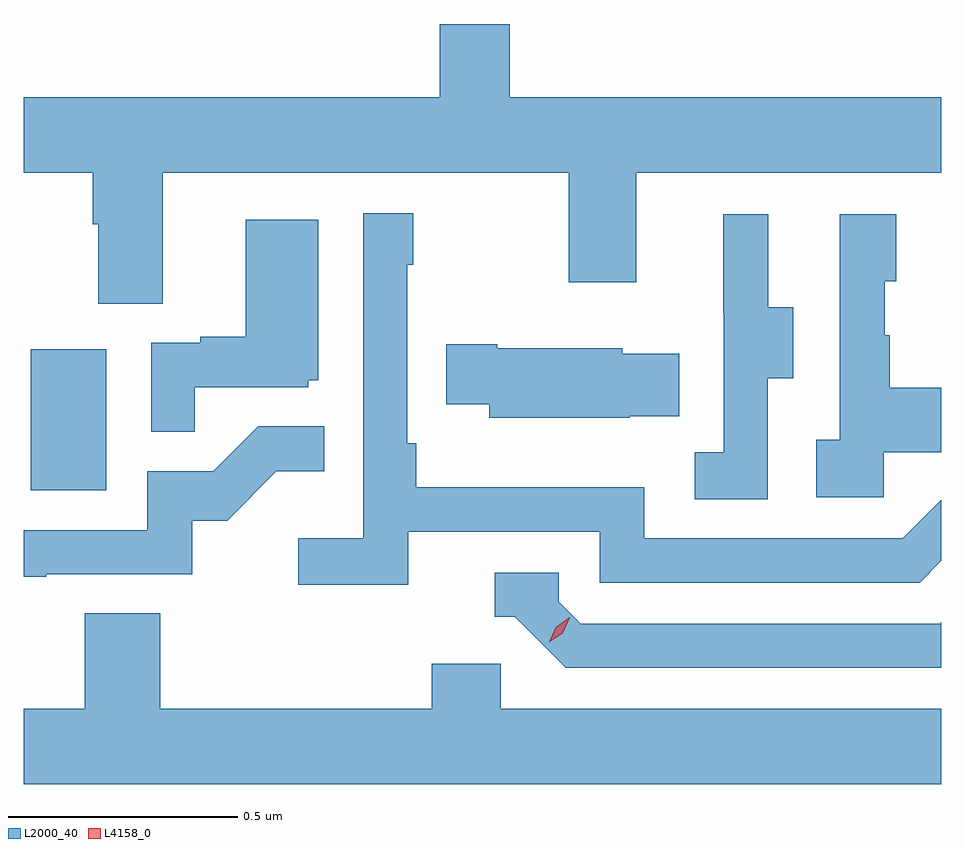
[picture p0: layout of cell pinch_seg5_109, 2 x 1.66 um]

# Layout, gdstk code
import gdstk
lib = gdstk.Library(unit=1e-6, precision=1e-09)
def R(c, l, rs):  # rectangles x0, y0, x1, y1
    for r in rs: c.add(gdstk.rectangle(r[:2], r[2:], *l))
def P(c, l, *ps):  # polygons
    for p in ps: c.add(gdstk.Polygon(p, *l))
L2000_40 = (2000, 40)
L4158_0 = (4158, 0)

pinch_seg5_109 = lib.new_cell('pinch_seg5_109')
R(pinch_seg5_109, L2000_40, [(1029.788,880.044,1029.952,880.351)])
P(pinch_seg5_109, L2000_40, [(1030.075,880.736),(1030.96,880.736),(1030.96,880.497),(1031.107,880.497),(1031.107,880.736),(1031.772,880.736),(1031.772,880.9),(1030.831,880.9),(1030.831,881.06),(1030.679,881.06),(1030.679,880.9),(1029.772,880.9),(1029.772,880.736),(1029.923,880.736),(1029.923,880.624),(1029.935,880.624),(1029.935,880.45),(1030.075,880.45)],
  [(1030.61,879.954),(1031.028,879.954),(1031.028,879.843),(1031.725,879.843),(1031.772,879.89),(1031.772,880.023),(1031.688,879.939),(1031.124,879.939),(1031.124,880.051),(1030.628,880.051),(1030.628,880.147),(1030.608,880.147),(1030.608,880.535),(1030.621,880.535),(1030.621,880.648),(1030.512,880.648),(1030.512,879.94),(1030.371,879.94),(1030.371,879.838),(1030.61,879.838)],
  [(1031.394,880.288),(1031.449,880.288),(1031.449,880.443),(1031.395,880.443),(1031.395,880.645),(1031.297,880.645),(1031.297,880.431),(1031.298,880.431),(1031.298,880.127),(1031.235,880.127),(1031.235,880.024),(1031.394,880.024)],
  [(1031.646,880.127),(1031.772,880.127),(1031.772,880.267),(1031.659,880.267),(1031.659,880.382),(1031.649,880.382),(1031.649,880.5),(1031.674,880.5),(1031.674,880.645),(1031.55,880.645),(1031.55,880.154),(1031.499,880.154),(1031.499,880.029),(1031.646,880.029)],
  [(1030.145,880.269),(1030.392,880.269),(1030.392,880.284),(1030.414,880.284),(1030.414,880.633),(1030.256,880.633),(1030.256,880.378),(1030.157,880.378),(1030.157,880.365),(1030.05,880.365),(1030.05,880.171),(1030.145,880.171)],
  [(1031.093,880.205),(1031.201,880.205),(1031.201,880.342),(1031.076,880.342),(1031.076,880.354),(1030.804,880.354),(1030.804,880.362),(1030.693,880.362),(1030.693,880.232),(1030.787,880.232),(1030.787,880.202),(1031.093,880.202)],
  [(1029.821,879.861),(1030.14,879.861),(1030.14,879.978),(1030.216,879.978),(1030.323,880.085),(1030.427,880.085),(1030.427,880.184),(1030.283,880.184),(1030.185,880.086),(1030.041,880.086),(1030.041,879.957),(1029.772,879.957),(1029.772,879.856),(1029.821,879.856)],
  [(1031.772,879.756),(1031.769,879.753),(1030.986,879.753),(1030.938,879.801),(1030.938,879.864),(1030.799,879.864),(1030.799,879.768),(1030.842,879.768),(1030.953,879.657),(1031.772,879.657)],
  [(1031.772,879.568),(1030.812,879.568),(1030.812,879.666),(1030.661,879.666),(1030.661,879.568),(1030.07,879.568),(1030.07,879.776),(1029.905,879.776),(1029.905,879.568),(1029.772,879.568),(1029.772,879.404),(1031.772,879.404)])
P(pinch_seg5_109, L4158_0, [(1030.917,879.713),(1030.917,879.713),(1030.932,879.746),(1030.962,879.767),(1030.962,879.767),(1030.962,879.766),(1030.947,879.733),(1030.917,879.713)])

lib.write_gds('pinch_seg5_109.gds')
